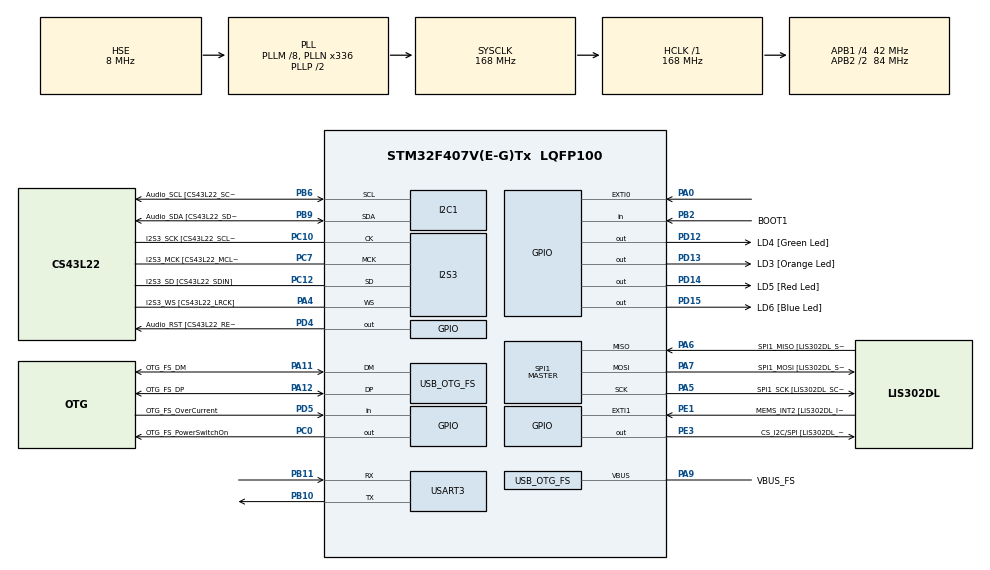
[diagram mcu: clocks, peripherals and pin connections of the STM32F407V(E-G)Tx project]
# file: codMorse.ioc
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I2S3.AudioFreq-Half_Duplex_Master=I2S_AUDIOFREQ_96K
I2S3.ErrorAudioFreq=-2.34 %
I2S3.ErrorAudioFreq-Half_Duplex_Master=0.8 %
I2S3.FullDuplexMode=I2S_FULLDUPLEXMODE_DISABLE
I2S3.Instance=SPI$Index
I2S3.RealAudioFreq=93.75 KHz
I2S3.RealAudioFreq-Half_Duplex_Master=96.774 KHz
I2S3.VirtualMode=I2S_MODE_MASTER
Mcu.Family=STM32F4
Mcu.Name=STM32F407V(E-G)Tx
Mcu.Package=LQFP100
NVIC.OTG_FS_IRQn=true\:0\:0\:false\:false\:true\:true\:true\:true
NVIC.PriorityGroup=NVIC_PRIORITYGROUP_0
PA0-WKUP.Signal=GPXTI0
PA10.GPIO_Label=OTG_FS_ID
PA10.GPIO_Mode=GPIO_MODE_AF_PP
PA10.GPIO_PuPd=GPIO_NOPULL
PA10.GPIO_Speed=GPIO_SPEED_FREQ_LOW
PA10.Signal=USB_OTG_FS_ID
PA11.GPIO_Label=OTG_FS_DM
PA11.GPIO_Mode=GPIO_MODE_AF_PP
PA11.GPIO_PuPd=GPIO_NOPULL
PA11.GPIO_Speed=GPIO_SPEED_FREQ_LOW
PA11.Mode=Host_Only
PA11.Signal=USB_OTG_FS_DM
PA12.GPIO_Label=OTG_FS_DP
PA12.GPIO_Mode=GPIO_MODE_AF_PP
PA12.GPIO_PuPd=GPIO_NOPULL
PA12.GPIO_Speed=GPIO_SPEED_FREQ_LOW
PA12.Mode=Host_Only
PA12.Signal=USB_OTG_FS_DP
PA13.GPIO_Label=SWDIO
PA13.Mode=Serial_Wire
PA13.Signal=SYS_JTMS-SWDIO
PA14.GPIO_Label=SWCLK
PA14.Mode=Serial_Wire
PA14.Signal=SYS_JTCK-SWCLK
PA4.GPIO_Label=I2S3_WS [CS43L22_LRCK]
PA4.GPIO_Mode=GPIO_MODE_AF_PP
PA4.GPIO_PuPd=GPIO_NOPULL
PA4.GPIO_Speed=GPIO_SPEED_FREQ_LOW
PA4.Mode=Half_Duplex_Master
PA4.Signal=I2S3_WS
PA5.GPIO_Label=SPI1_SCK [LIS302DL_SCL/SPC]
PA5.GPIO_Mode=GPIO_MODE_AF_PP
PA5.GPIO_PuPd=GPIO_NOPULL
PA5.GPIO_Speed=GPIO_SPEED_FREQ_LOW
PA5.Mode=Full_Duplex_Master
PA5.Signal=SPI1_SCK
PA6.GPIO_Label=SPI1_MISO [LIS302DL_SDO]
PA6.GPIO_Mode=GPIO_MODE_AF_PP
PA6.GPIO_PuPd=GPIO_NOPULL
PA6.GPIO_Speed=GPIO_SPEED_FREQ_LOW
PA6.Mode=Full_Duplex_Master
PA6.Signal=SPI1_MISO
PA7.GPIO_Label=SPI1_MOSI [LIS302DL_SDA/SDI/SDO]
PA7.GPIO_Mode=GPIO_MODE_AF_PP
PA7.GPIO_PuPd=GPIO_NOPULL
PA7.GPIO_Speed=GPIO_SPEED_FREQ_LOW
PA7.Mode=Full_Duplex_Master
PA7.Signal=SPI1_MOSI
PA9.GPIO_Label=VBUS_FS
PA9.GPIO_Mode=GPIO_MODE_INPUT
PA9.GPIO_PuPd=GPIO_NOPULL
PA9.Mode=Activate_VBUS
PA9.Signal=USB_OTG_FS_VBUS
PB10.Mode=Asynchronous
PB10.Signal=USART3_TX
PB11.Mode=Asynchronous
PB11.Signal=USART3_RX
PB2.GPIO_Label=BOOT1
PB2.GPIO_Mode=GPIO_MODE_INPUT
PB2.GPIO_PuPd=GPIO_NOPULL
PB2.Signal=GPIO_Input
PB3.GPIO_Label=SWO
PB3.Signal=SYS_JTDO-SWO
PB6.GPIO_Label=Audio_SCL [CS43L22_SCL]
PB6.GPIO_Mode=GPIO_MODE_AF_OD
PB6.GPIO_Pu=GPIO_PULLUP
PB6.GPIO_PuPd=GPIO_NOPULL
PB6.GPIO_Speed=GPIO_SPEED_FREQ_LOW
PB6.Mode=I2C
PB6.Signal=I2C1_SCL
PB9.GPIO_Label=Audio_SDA [CS43L22_SDA]
PB9.GPIO_Mode=GPIO_MODE_AF_OD
PB9.GPIO_Pu=GPIO_PULLUP
PB9.GPIO_PuPd=GPIO_NOPULL
PB9.GPIO_Speed=GPIO_SPEED_FREQ_LOW
PB9.Mode=I2C
PB9.Signal=I2C1_SDA
PC0.GPIO_Label=OTG_FS_PowerSwitchOn
PC0.GPIO_PuPd=GPIO_NOPULL
PC0.GPIO_Speed=GPIO_SPEED_FREQ_LOW
PC0.PinState=GPIO_PIN_SET
PC0.Signal=GPIO_Output
PC10.GPIO_Label=I2S3_SCK [CS43L22_SCLK]
PC10.GPIO_Mode=GPIO_MODE_AF_PP
PC10.GPIO_PuPd=GPIO_NOPULL
PC10.GPIO_Speed=GPIO_SPEED_FREQ_LOW
PC10.Mode=Half_Duplex_Master
PC10.Signal=I2S3_CK
PC12.GPIO_Label=I2S3_SD [CS43L22_SDIN]
PC12.GPIO_Mode=GPIO_MODE_AF_PP
PC12.GPIO_PuPd=GPIO_NOPULL
PC12.GPIO_Speed=GPIO_SPEED_FREQ_LOW
PC12.Mode=Half_Duplex_Master
PC12.Signal=I2S3_SD
PC14-OSC32_IN.GPIO_Label=PC14-OSC32_IN
PC14-OSC32_IN.Mode=LSE-External-Oscillator
PC14-OSC32_IN.Signal=RCC_OSC32_IN
PC15-OSC32_OUT.GPIO_Label=PC15-OSC32_OUT
PC15-OSC32_OUT.Mode=LSE-External-Oscillator
PC15-OSC32_OUT.Signal=RCC_OSC32_OUT
PC3.GPIO_Label=PDM_OUT [MP45DT02_DOUT]
PC3.GPIO_Mode=GPIO_MODE_AF_PP
PC3.GPIO_PuPd=GPIO_NOPULL
PC3.GPIO_Speed=GPIO_SPEED_FREQ_LOW
PC3.Signal=I2S2_SD
PC7.GPIO_Label=I2S3_MCK [CS43L22_MCLK]
PC7.GPIO_Mode=GPIO_MODE_AF_PP
PC7.GPIO_PuPd=GPIO_NOPULL
PC7.GPIO_Speed=GPIO_SPEED_FREQ_LOW
PC7.Mode=Master_Clock_Activated
PC7.Signal=I2S3_MCK
PD12.GPIO_Label=LD4 [Green Led]
PD12.GPIO_PuPd=GPIO_NOPULL
PD12.GPIO_Speed=GPIO_SPEED_FREQ_LOW
PD12.Signal=GPIO_Output
PD13.GPIO_Label=LD3 [Orange Led]
PD13.GPIO_PuPd=GPIO_NOPULL
PD13.GPIO_Speed=GPIO_SPEED_FREQ_LOW
PD13.Signal=GPIO_Output
PD14.GPIO_Label=LD5 [Red Led]
PD14.GPIO_PuPd=GPIO_NOPULL
PD14.GPIO_Speed=GPIO_SPEED_FREQ_LOW
PD14.Signal=GPIO_Output
PD15.GPIO_Label=LD6 [Blue Led]
PD15.GPIO_PuPd=GPIO_NOPULL
PD15.GPIO_Speed=GPIO_SPEED_FREQ_LOW
PD15.Signal=GPIO_Output
PD4.GPIO_Label=Audio_RST [CS43L22_RESET]
PD4.GPIO_PuPd=GPIO_NOPULL
PD4.GPIO_Speed=GPIO_SPEED_FREQ_LOW
PD4.Signal=GPIO_Output
PD5.GPIO_Label=OTG_FS_OverCurrent
PD5.GPIO_Mode=GPIO_MODE_INPUT
PD5.GPIO_PuPd=GPIO_NOPULL
PD5.Signal=GPIO_Input
PE1.GPIO_Label=MEMS_INT2 [LIS302DL_INT2]
PE1.GPIO_ModeDefaultEXTI=GPIO_MODE_EVT_RISING
PE1.GPIO_PuPd=GPIO_NOPULL
PE1.Signal=GPXTI1
PE3.GPIO_Label=CS_I2C/SPI [LIS302DL_CS_I2C/SPI]
PE3.GPIO_PuPd=GPIO_NOPULL
PE3.GPIO_Speed=GPIO_SPEED_FREQ_LOW
PE3.Signal=GPIO_Output
PH0-OSC_IN.GPIO_Label=PH0-OSC_IN
PH0-OSC_IN.Mode=HSE-External-Oscillator
PH0-OSC_IN.Signal=RCC_OSC_IN
PH1-OSC_OUT.GPIO_Label=PH1-OSC_OUT
PH1-OSC_OUT.Mode=HSE-External-Oscillator
PH1-OSC_OUT.Signal=RCC_OSC_OUT
ProjectManager.HeapSize=0x200
ProjectManager.StackSize=0x400
ProjectManager.TargetToolchain=STM32CubeIDE
RCC.48MHZClocksFreq_Value=48000000
RCC.AHBFreq_Value=168000000
RCC.APB1CLKDivider=RCC_HCLK_DIV4
RCC.APB1Freq_Value=42000000
RCC.APB1TimFreq_Value=84000000
RCC.APB2CLKDivider=RCC_HCLK_DIV2
RCC.APB2Freq_Value=84000000
RCC.APB2TimFreq_Value=168000000
RCC.CortexFreq_Value=168000000
RCC.HCLKFreq_Value=168000000
RCC.HSE_VALUE=8000000
RCC.HSI_VALUE=16000000
RCC.PLLM=8
RCC.PLLN=336
RCC.PLLQ=7
RCC.SYSCLKFreq_VALUE=168000000
RCC.SYSCLKSource=RCC_SYSCLKSOURCE_PLLCLK
RCC.VCOOutputFreq_Value=336000000
SPI1.BaudRatePrescaler-Full_Duplex_Master=SPI_BAUDRATEPRESCALER_2
SPI1.CalculateBaudRate-Full_Duplex_Master=42.0 MBits/s
SPI1.Direction=SPI_DIRECTION_2LINES
SPI1.Mode=SPI_MODE_MASTER
SPI1.Mode-Full_Duplex_Master=SPI_MODE_MASTER
SPI1.VirtualType=VM_MASTER
TIM1.Prescaler=16000 - 1
USART3.VirtualMode=VM_ASYNC
USB_HOST.BSP.number=1
USB_HOST.USBH_HandleTypeDef-CDC_FS=hUsbHostFS
USB_HOST.VirtualModeFS=Cdc
USB_HOST0.BSP.STBoard=false
USB_HOST0.BSP.api=Unknown
USB_HOST0.BSP.instance=PC0
USB_HOST0.BSP.ip=GPIO
USB_HOST0.BSP.mode=Output
USB_HOST0.BSP.name=Drive_VBUS_FS
USB_HOST0.BSP.solution=PC0
USB_OTG_FS.VirtualMode=Host_Only
USB_OTG_FS.phy_itface=HCD_PHY_EMBEDDED
VP_TIM1_VS_ClockSourceINT.Mode=Internal
VP_USB_HOST_VS_USB_HOST_CDC_FS.Mode=CDC_FS
board=STM32F407G-DISC1

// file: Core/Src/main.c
/* USER CODE BEGIN Header */
/**
  ******************************************************************************
  * @file           : main.c
  * @brief          : Main program body
  ******************************************************************************
  * @attention
  *
  * Copyright (c) 2024 STMicroelectronics.
  * All rights reserved.
  *
  * This software is licensed under terms that can be found in the LICENSE file
  * in the root directory of this software component.
  * If no LICENSE file comes with this software, it is provided AS-IS.
  *
  ******************************************************************************
  */
/* USER CODE END Header */
#include "main.h"
#include "usb_host.h"

/* USER CODE BEGIN Includes */
#include "stdio.h"
#include "string.h"
/* USER CODE END Includes */

I2C_HandleTypeDef hi2c1;

I2S_HandleTypeDef hi2s3;

SPI_HandleTypeDef hspi1;

TIM_HandleTypeDef htim1;

UART_HandleTypeDef huart3;

void SystemClock_Config(void);
static void MX_GPIO_Init(void);
static void MX_I2C1_Init(void);
static void MX_I2S3_Init(void);
static void MX_SPI1_Init(void);
static void MX_TIM1_Init(void);
static void MX_USART3_UART_Init(void);
void MX_USB_HOST_Process(void);

/* USER CODE BEGIN PFP */
uint32_t Get_Timestamp(void);
void decode_and_print_morse(char *buffer);

#define DEBOUNCE_DELAY 50 // 50 ms debounce delay
#define NO_PRESS_THRESHOLD 5000 // 5000 ms (5 secunde)
#define MAX_BUFFER_SIZE 100 // Maxim 100 caractere in buffer

char buffer[MAX_BUFFER_SIZE]; // Buffer pentru caractere
char buffer_cuvant[MAX_BUFFER_SIZE]; // Buffer pentru caractere
int buffer_index = 0; // Index pentru buffer
int buffer_cuvant_index = 0;
/* USER CODE END PFP */

int main(void)
{

  /* MCU Configuration--------------------------------------------------------*/

  /* Reset of all peripherals, Initializes the Flash interface and the Systick. */
  HAL_Init();

  /* Configure the system clock */
  SystemClock_Config();

  /* Initialize all configured peripherals */
  MX_GPIO_Init();
  MX_I2C1_Init();
  MX_I2S3_Init();
  MX_SPI1_Init();
  MX_USB_HOST_Init();
  MX_TIM1_Init();
  MX_USART3_UART_Init();
  /* USER CODE BEGIN 2 */
  HAL_TIM_Base_Start(&htim1);

uint32_t start_time = 0;
uint32_t press_duration = 0;
int button_was_pressed = 0;
uint32_t debounce_time = 0;

printf("\n\r\n\rStart here \n\r");
  /* USER CODE END 2 */

  /* Infinite loop */
  while (1)
  {
    MX_USB_HOST_Process();

    /* USER CODE BEGIN 3 */

    uint32_t current_time = Get_Timestamp();

    int button_state = HAL_GPIO_ReadPin(GPIOA , GPIO_PIN_0);

    // Debounce logic: only register the button press if the state has been stable for DEBOUNCE_DELAY
        if (button_state == GPIO_PIN_SET && !button_was_pressed && (current_time - debounce_time > DEBOUNCE_DELAY))
        {
            // Button press detected
            debounce_time = current_time;
            start_time = current_time;
            //printf("incepe   %ld \n\r", current_time);
            button_was_pressed = 1;

        }
        else if (button_state == GPIO_PIN_RESET && button_was_pressed && (current_time - debounce_time > DEBOUNCE_DELAY))
        {
            // Button release detected
            debounce_time = current_time;

            // Calculate press duration, accounting for possible timer overflow
            if (current_time >= start_time)
            {
                press_duration = (current_time - start_time);
            }
            else
            {
                // Handle timer overflow
                press_duration = (0xFFFF - start_time + current_time + 1);
            }

            button_was_pressed = 0;
            //printf("termina   %ld \n\r", current_time);
            printf("Buton apasat timp de %ld ms\n\r", press_duration);

            if(press_duration <= 2000)
            {
            	if (buffer_index < MAX_BUFFER_SIZE - 1)
            	        {
            	          buffer[buffer_index++] = '*'; // Adăugăm '*' în buffer
            	        }
            }else if(press_duration <= 4000)
            {
            	if (buffer_index < MAX_BUFFER_SIZE - 1)
            	        {
            	          buffer[buffer_index++] = '-'; // Adăugăm '-' în buffer
            	        }
            }else if (press_duration <= 10000)
            {
            	// Dacă butonul a fost ținut apăsat mai mult de 7 secunde
            	        buffer[buffer_index] = '\0'; // Închidem șirul de caractere
            	        printf("Secventa: %s\n\r", buffer); // Afișăm conținutul bufferului
            	        decode_and_print_morse(buffer);
            	        // Resetăm buffer-ul pentru următoarea secvență
            	        memset(buffer, 0, MAX_BUFFER_SIZE); // Curățăm buffer-ul
            	        buffer_index = 0;
            }else{
            	printf("cuvantul scris este :  %s\n\r" , buffer_cuvant);
            	memset(buffer_cuvant, 0, MAX_BUFFER_SIZE); // Curățăm buffer-ul
            	buffer_cuvant_index = 0;
            }
        }

        HAL_Delay(10);  // Small delay for loop timing

  }
  /* USER CODE END 3 */
}

void SystemClock_Config(void)
{
  RCC_OscInitTypeDef RCC_OscInitStruct = {0};
  RCC_ClkInitTypeDef RCC_ClkInitStruct = {0};

  /** Configure the main internal regulator output voltage
  */
  __HAL_RCC_PWR_CLK_ENABLE();
  __HAL_PWR_VOLTAGESCALING_CONFIG(PWR_REGULATOR_VOLTAGE_SCALE1);

  /** Initializes the RCC Oscillators according to the specified parameters
  * in the RCC_OscInitTypeDef structure.
  */
  RCC_OscInitStruct.OscillatorType = RCC_OSCILLATORTYPE_HSE;
  RCC_OscInitStruct.HSEState = RCC_HSE_ON;
  RCC_OscInitStruct.PLL.PLLState = RCC_PLL_ON;
  RCC_OscInitStruct.PLL.PLLSource = RCC_PLLSOURCE_HSE;
  RCC_OscInitStruct.PLL.PLLM = 8;
  RCC_OscInitStruct.PLL.PLLN = 336;
  RCC_OscInitStruct.PLL.PLLP = RCC_PLLP_DIV2;
  RCC_OscInitStruct.PLL.PLLQ = 7;
  if (HAL_RCC_OscConfig(&RCC_OscInitStruct) != HAL_OK)
  {
    Error_Handler();
  }

  /** Initializes the CPU, AHB and APB buses clocks
  */
  RCC_ClkInitStruct.ClockType = RCC_CLOCKTYPE_HCLK|RCC_CLOCKTYPE_SYSCLK
                              |RCC_CLOCKTYPE_PCLK1|RCC_CLOCKTYPE_PCLK2;
  RCC_ClkInitStruct.SYSCLKSource = RCC_SYSCLKSOURCE_PLLCLK;
  RCC_ClkInitStruct.AHBCLKDivider = RCC_SYSCLK_DIV1;
  RCC_ClkInitStruct.APB1CLKDivider = RCC_HCLK_DIV4;
  RCC_ClkInitStruct.APB2CLKDivider = RCC_HCLK_DIV2;

  if (HAL_RCC_ClockConfig(&RCC_ClkInitStruct, FLASH_LATENCY_5) != HAL_OK)
  {
    Error_Handler();
  }
}

static void MX_I2C1_Init(void)
{

  hi2c1.Instance = I2C1;
  hi2c1.Init.ClockSpeed = 100000;
  hi2c1.Init.DutyCycle = I2C_DUTYCYCLE_2;
  hi2c1.Init.OwnAddress1 = 0;
  hi2c1.Init.AddressingMode = I2C_ADDRESSINGMODE_7BIT;
  hi2c1.Init.DualAddressMode = I2C_DUALADDRESS_DISABLE;
  hi2c1.Init.OwnAddress2 = 0;
  hi2c1.Init.GeneralCallMode = I2C_GENERALCALL_DISABLE;
  hi2c1.Init.NoStretchMode = I2C_NOSTRETCH_DISABLE;
  if (HAL_I2C_Init(&hi2c1) != HAL_OK)
  {
    Error_Handler();
  }

}

static void MX_I2S3_Init(void)
{

  hi2s3.Instance = SPI3;
  hi2s3.Init.Mode = I2S_MODE_MASTER_TX;
  hi2s3.Init.Standard = I2S_STANDARD_PHILIPS;
  hi2s3.Init.DataFormat = I2S_DATAFORMAT_16B;
  hi2s3.Init.MCLKOutput = I2S_MCLKOUTPUT_ENABLE;
  hi2s3.Init.AudioFreq = I2S_AUDIOFREQ_96K;
  hi2s3.Init.CPOL = I2S_CPOL_LOW;
  hi2s3.Init.ClockSource = I2S_CLOCK_PLL;
  hi2s3.Init.FullDuplexMode = I2S_FULLDUPLEXMODE_DISABLE;
  if (HAL_I2S_Init(&hi2s3) != HAL_OK)
  {
    Error_Handler();
  }

}

static void MX_SPI1_Init(void)
{

  /* SPI1 parameter configuration*/
  hspi1.Instance = SPI1;
  hspi1.Init.Mode = SPI_MODE_MASTER;
  hspi1.Init.Direction = SPI_DIRECTION_2LINES;
  hspi1.Init.DataSize = SPI_DATASIZE_8BIT;
  hspi1.Init.CLKPolarity = SPI_POLARITY_LOW;
  hspi1.Init.CLKPhase = SPI_PHASE_1EDGE;
  hspi1.Init.NSS = SPI_NSS_SOFT;
  hspi1.Init.BaudRatePrescaler = SPI_BAUDRATEPRESCALER_2;
  hspi1.Init.FirstBit = SPI_FIRSTBIT_MSB;
  hspi1.Init.TIMode = SPI_TIMODE_DISABLE;
  hspi1.Init.CRCCalculation = SPI_CRCCALCULATION_DISABLE;
  hspi1.Init.CRCPolynomial = 10;
  if (HAL_SPI_Init(&hspi1) != HAL_OK)
  {
    Error_Handler();
  }

}

static void MX_TIM1_Init(void)
{

  TIM_ClockConfigTypeDef sClockSourceConfig = {0};
  TIM_MasterConfigTypeDef sMasterConfig = {0};

  __HAL_RCC_TIM1_CLK_ENABLE();
  htim1.Instance = TIM1;
  htim1.Init.Prescaler = 16000 - 1;
  htim1.Init.CounterMode = TIM_COUNTERMODE_UP;
  htim1.Init.Period = 65535;
  htim1.Init.ClockDivision = TIM_CLOCKDIVISION_DIV1;
  htim1.Init.RepetitionCounter = 0;
  htim1.Init.AutoReloadPreload = TIM_AUTORELOAD_PRELOAD_DISABLE;
  if (HAL_TIM_Base_Init(&htim1) != HAL_OK)
  {
    Error_Handler();
  }
  sClockSourceConfig.ClockSource = TIM_CLOCKSOURCE_INTERNAL;
  if (HAL_TIM_ConfigClockSource(&htim1, &sClockSourceConfig) != HAL_OK)
  {
    Error_Handler();
  }
  sMasterConfig.MasterOutputTrigger = TIM_TRGO_RESET;
  sMasterConfig.MasterSlaveMode = TIM_MASTERSLAVEMODE_DISABLE;
  if (HAL_TIMEx_MasterConfigSynchronization(&htim1, &sMasterConfig) != HAL_OK)
  {
    Error_Handler();
  }

}

static void MX_USART3_UART_Init(void)
{

  huart3.Instance = USART3;
  huart3.Init.BaudRate = 115200;
  huart3.Init.WordLength = UART_WORDLENGTH_8B;
  huart3.Init.StopBits = UART_STOPBITS_1;
  huart3.Init.Parity = UART_PARITY_NONE;
  huart3.Init.Mode = UART_MODE_TX_RX;
  huart3.Init.HwFlowCtl = UART_HWCONTROL_NONE;
  huart3.Init.OverSampling = UART_OVERSAMPLING_16;
  if (HAL_UART_Init(&huart3) != HAL_OK)
  {
    Error_Handler();
  }

}

static void MX_GPIO_Init(void)
{
  GPIO_InitTypeDef GPIO_InitStruct = {0};

  /* GPIO Ports Clock Enable */
  __HAL_RCC_GPIOE_CLK_ENABLE();
  __HAL_RCC_GPIOC_CLK_ENABLE();
  __HAL_RCC_GPIOH_CLK_ENABLE();
  __HAL_RCC_GPIOA_CLK_ENABLE();
  __HAL_RCC_GPIOB_CLK_ENABLE();
  __HAL_RCC_GPIOD_CLK_ENABLE();

  /*Configure GPIO pin Output Level */
  HAL_GPIO_WritePin(CS_I2C_SPI_GPIO_Port, CS_I2C_SPI_Pin, GPIO_PIN_RESET);

  /*Configure GPIO pin Output Level */
  HAL_GPIO_WritePin(OTG_FS_PowerSwitchOn_GPIO_Port, OTG_FS_PowerSwitchOn_Pin, GPIO_PIN_SET);

  /*Configure GPIO pin Output Level */
  HAL_GPIO_WritePin(GPIOD, LD4_Pin|LD3_Pin|LD5_Pin|LD6_Pin
                          |Audio_RST_Pin, GPIO_PIN_RESET);

  /*Configure GPIO pin : CS_I2C_SPI_Pin */
  GPIO_InitStruct.Pin = CS_I2C_SPI_Pin;
  GPIO_InitStruct.Mode = GPIO_MODE_OUTPUT_PP;
  GPIO_InitStruct.Pull = GPIO_NOPULL;
  GPIO_InitStruct.Speed = GPIO_SPEED_FREQ_LOW;
  HAL_GPIO_Init(CS_I2C_SPI_GPIO_Port, &GPIO_InitStruct);

  /*Configure GPIO pin : OTG_FS_PowerSwitchOn_Pin */
  GPIO_InitStruct.Pin = OTG_FS_PowerSwitchOn_Pin;
  GPIO_InitStruct.Mode = GPIO_MODE_OUTPUT_PP;
  GPIO_InitStruct.Pull = GPIO_NOPULL;
  GPIO_InitStruct.Speed = GPIO_SPEED_FREQ_LOW;
  HAL_GPIO_Init(OTG_FS_PowerSwitchOn_GPIO_Port, &GPIO_InitStruct);

  /*Configure GPIO pin : PDM_OUT_Pin */
  GPIO_InitStruct.Pin = PDM_OUT_Pin;
  GPIO_InitStruct.Mode = GPIO_MODE_AF_PP;
  GPIO_InitStruct.Pull = GPIO_NOPULL;
  GPIO_InitStruct.Speed = GPIO_SPEED_FREQ_LOW;
  GPIO_InitStruct.Alternate = GPIO_AF5_SPI2;
  HAL_GPIO_Init(PDM_OUT_GPIO_Port, &GPIO_InitStruct);

  /*Configure GPIO pin : PA0 */
  GPIO_InitStruct.Pin = GPIO_PIN_0;
  GPIO_InitStruct.Mode = GPIO_MODE_IT_RISING;
  GPIO_InitStruct.Pull = GPIO_NOPULL;
  HAL_GPIO_Init(GPIOA, &GPIO_InitStruct);

  /*Configure GPIO pin : BOOT1_Pin */
  GPIO_InitStruct.Pin = BOOT1_Pin;
  GPIO_InitStruct.Mode = GPIO_MODE_INPUT;
  GPIO_InitStruct.Pull = GPIO_NOPULL;
  HAL_GPIO_Init(BOOT1_GPIO_Port, &GPIO_InitStruct);

  /*Configure GPIO pins : LD4_Pin LD3_Pin LD5_Pin LD6_Pin
                           Audio_RST_Pin */
  GPIO_InitStruct.Pin = LD4_Pin|LD3_Pin|LD5_Pin|LD6_Pin
                          |Audio_RST_Pin;
  GPIO_InitStruct.Mode = GPIO_MODE_OUTPUT_PP;
  GPIO_InitStruct.Pull = GPIO_NOPULL;
  GPIO_InitStruct.Speed = GPIO_SPEED_FREQ_LOW;
  HAL_GPIO_Init(GPIOD, &GPIO_InitStruct);

  /*Configure GPIO pin : OTG_FS_OverCurrent_Pin */
  GPIO_InitStruct.Pin = OTG_FS_OverCurrent_Pin;
  GPIO_InitStruct.Mode = GPIO_MODE_INPUT;
  GPIO_InitStruct.Pull = GPIO_NOPULL;
  HAL_GPIO_Init(OTG_FS_OverCurrent_GPIO_Port, &GPIO_InitStruct);

  /*Configure GPIO pin : MEMS_INT2_Pin */
  GPIO_InitStruct.Pin = MEMS_INT2_Pin;
  GPIO_InitStruct.Mode = GPIO_MODE_EVT_RISING;
  GPIO_InitStruct.Pull = GPIO_NOPULL;
  HAL_GPIO_Init(MEMS_INT2_GPIO_Port, &GPIO_InitStruct);

}

/* USER CODE BEGIN 4 */
uint32_t Get_Timestamp(void)
{
	 return __HAL_TIM_GET_COUNTER(&htim1);

}

void decode_and_print_morse(char *buffer)
{
    printf("Codul Morse receptionat: %s -> ", buffer);

    // Folosim un switch pentru a decodifica codul Morse
    if (strcmp(buffer, "*-") == 0 && buffer_cuvant_index < MAX_BUFFER_SIZE - 1)
        printf("A\n\r"),buffer_cuvant[buffer_cuvant_index++] = 'A';
    else if (strcmp(buffer, "-***") == 0 && buffer_cuvant_index < MAX_BUFFER_SIZE - 1)
        printf("B\n\r"),buffer_cuvant[buffer_cuvant_index++] = 'B';
    else if (strcmp(buffer, "-*-*") == 0 && buffer_cuvant_index < MAX_BUFFER_SIZE - 1)
        printf("C\n\r"),buffer_cuvant[buffer_cuvant_index++] = 'C';
    else if (strcmp(buffer, "-**") == 0 && buffer_cuvant_index < MAX_BUFFER_SIZE - 1)
        printf("D\n\r"),buffer_cuvant[buffer_cuvant_index++] = 'D';
    else if (strcmp(buffer, "*") == 0 && buffer_cuvant_index < MAX_BUFFER_SIZE - 1)
        printf("E\n\r"),buffer_cuvant[buffer_cuvant_index++] = 'E';
    else if (strcmp(buffer, "**-*") == 0 && buffer_cuvant_index < MAX_BUFFER_SIZE - 1)
        printf("F\n\r"),buffer_cuvant[buffer_cuvant_index++] = 'F';
    else if (strcmp(buffer, "--*") == 0 && buffer_cuvant_index < MAX_BUFFER_SIZE - 1)
        printf("G\n\r"),buffer_cuvant[buffer_cuvant_index++] = 'G';
    else if (strcmp(buffer, "****") == 0 && buffer_cuvant_index < MAX_BUFFER_SIZE - 1)
        printf("H\n\r"),buffer_cuvant[buffer_cuvant_index++] = 'H';
    else if (strcmp(buffer, "**") == 0 && buffer_cuvant_index < MAX_BUFFER_SIZE - 1)
        printf("I\n\r"),buffer_cuvant[buffer_cuvant_index++] = 'I';
    else if (strcmp(buffer, "*---") == 0 && buffer_cuvant_index < MAX_BUFFER_SIZE - 1)
        printf("J\n\r"),buffer_cuvant[buffer_cuvant_index++] = 'J';
    else if (strcmp(buffer, "-*-") == 0 && buffer_cuvant_index < MAX_BUFFER_SIZE - 1)
        printf("K\n\r"),buffer_cuvant[buffer_cuvant_index++] = 'K';
    else if (strcmp(buffer, "*-**") == 0 && buffer_cuvant_index < MAX_BUFFER_SIZE - 1)
        printf("L\n\r"),buffer_cuvant[buffer_cuvant_index++] = 'L';
    else if (strcmp(buffer, "--") == 0 && buffer_cuvant_index < MAX_BUFFER_SIZE - 1)
        printf("M\n\r"),buffer_cuvant[buffer_cuvant_index++] = 'M';
    else if (strcmp(buffer, "-*") == 0 && buffer_cuvant_index < MAX_BUFFER_SIZE - 1)
        printf("N\n\r"),buffer_cuvant[buffer_cuvant_index++] = 'N';
    else if (strcmp(buffer, "---") == 0 && buffer_cuvant_index < MAX_BUFFER_SIZE - 1)
        printf("O\n\r"),buffer_cuvant[buffer_cuvant_index++] = 'O';
    else if (strcmp(buffer, "*--*") == 0 && buffer_cuvant_index < MAX_BUFFER_SIZE - 1)
        printf("P\n\r"),buffer_cuvant[buffer_cuvant_index++] = 'P';
    else if (strcmp(buffer, "--*-") == 0 && buffer_cuvant_index < MAX_BUFFER_SIZE - 1)
        printf("Q\n\r"),buffer_cuvant[buffer_cuvant_index++] = 'Q';
    else if (strcmp(buffer, "*-*") == 0 && buffer_cuvant_index < MAX_BUFFER_SIZE - 1)
        printf("R\n\r"),buffer_cuvant[buffer_cuvant_index++] = 'R';
    else if (strcmp(buffer, "***") == 0 && buffer_cuvant_index < MAX_BUFFER_SIZE - 1)
        printf("S\n\r"),buffer_cuvant[buffer_cuvant_index++] = 'S';
    else if (strcmp(buffer, "-") == 0 && buffer_cuvant_index < MAX_BUFFER_SIZE - 1)
        printf("T\n\r"),buffer_cuvant[buffer_cuvant_index++] = 'T';
    else if (strcmp(buffer, "**-") == 0 && buffer_cuvant_index < MAX_BUFFER_SIZE - 1)
        printf("U\n\r"),buffer_cuvant[buffer_cuvant_index++] = 'U';
    else if (strcmp(buffer, "***-") == 0 && buffer_cuvant_index < MAX_BUFFER_SIZE - 1)
        printf("V\n\r"),buffer_cuvant[buffer_cuvant_index++] = 'V';
    else if (strcmp(buffer, "*--") == 0 && buffer_cuvant_index < MAX_BUFFER_SIZE - 1)
        printf("W\n\r"),buffer_cuvant[buffer_cuvant_index++] = 'W';
    else if (strcmp(buffer, "-**-") == 0 && buffer_cuvant_index < MAX_BUFFER_SIZE - 1)
        printf("X\n\r"),buffer_cuvant[buffer_cuvant_index++] = 'X';
    else if (strcmp(buffer, "-*--") == 0 && buffer_cuvant_index < MAX_BUFFER_SIZE - 1)
        printf("Y\n\r"),buffer_cuvant[buffer_cuvant_index++] = 'Y';
    else if (strcmp(buffer, "--**") == 0 && buffer_cuvant_index < MAX_BUFFER_SIZE - 1)
        printf("Z\n\r"),buffer_cuvant[buffer_cuvant_index++] = 'Z';
    else if (strcmp(buffer, "*----") == 0 && buffer_cuvant_index < MAX_BUFFER_SIZE - 1)
        printf("1\n\r"),buffer_cuvant[buffer_cuvant_index++] = '1';
    else if (strcmp(buffer, "**---") == 0 && buffer_cuvant_index < MAX_BUFFER_SIZE - 1)
        printf("2\n\r"),buffer_cuvant[buffer_cuvant_index++] = '2';
    else if (strcmp(buffer, "***--") == 0 && buffer_cuvant_index < MAX_BUFFER_SIZE - 1)
        printf("3\n\r"),buffer_cuvant[buffer_cuvant_index++] = '3';
    else if (strcmp(buffer, "***-") == 0 && buffer_cuvant_index < MAX_BUFFER_SIZE - 1)
        printf("4\n\r"),buffer_cuvant[buffer_cuvant_index++] = '4';
    else if (strcmp(buffer, "*****") == 0 && buffer_cuvant_index < MAX_BUFFER_SIZE - 1)
        printf("5\n\r"),buffer_cuvant[buffer_cuvant_index++] = '5';
    else if (strcmp(buffer, "-****") == 0 && buffer_cuvant_index < MAX_BUFFER_SIZE - 1)
        printf("6\n\r"),buffer_cuvant[buffer_cuvant_index++] = '6';
    else if (strcmp(buffer, "--***") == 0 && buffer_cuvant_index < MAX_BUFFER_SIZE - 1)
        printf("7\n\r"),buffer_cuvant[buffer_cuvant_index++] = '7';
    else if (strcmp(buffer, "---**") == 0 && buffer_cuvant_index < MAX_BUFFER_SIZE - 1)
        printf("8\n\r"),buffer_cuvant[buffer_cuvant_index++] = '8';
    else if (strcmp(buffer, "----*") == 0 && buffer_cuvant_index < MAX_BUFFER_SIZE - 1)
        printf("9\n\r"),buffer_cuvant[buffer_cuvant_index++] = '9';
    else if (strcmp(buffer, "-----") == 0 && buffer_cuvant_index < MAX_BUFFER_SIZE - 1)
        printf("0\n\r"),buffer_cuvant[buffer_cuvant_index++] = '0';
    else
        printf("Cod invalid\n\r");
}

/* USER CODE END 4 */

void Error_Handler(void)
{
  __disable_irq();
  while (1)
  {
  }
}
